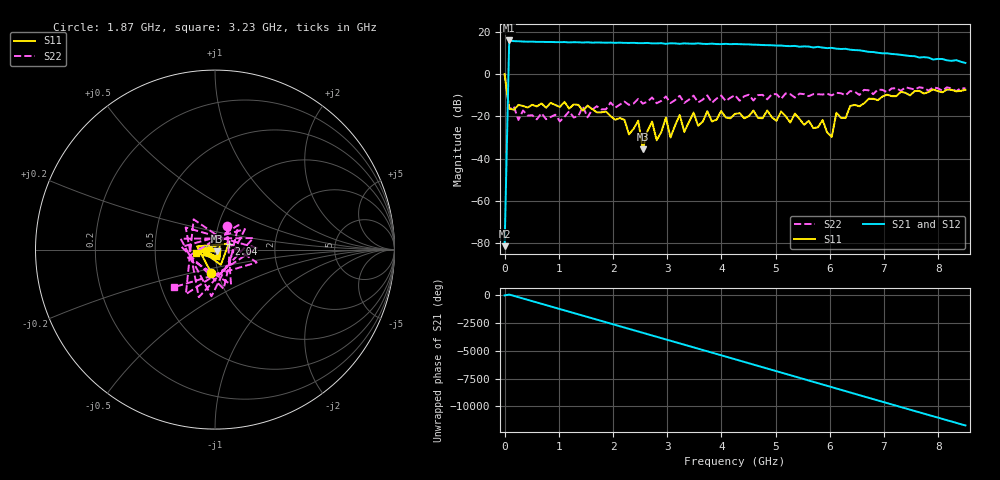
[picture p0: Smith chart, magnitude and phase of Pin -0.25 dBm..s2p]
! RsaToolbox (C) 2013 Rohde & Schwarz America
! Number of points: 101
! Number of ports: 2
! Balanced ports?: 0
# Hz S RI R 50
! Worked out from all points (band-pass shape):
!   101 points, 9 kHz to 8.5 GHz, reference 50 ohm
!   highest |S21| = 15.98 dB at 85.01 MHz (marker M1); lowest = -81.5 dB at 9 kHz (marker M2)
!   |S21| within 3 dB of the highest: 82.39 MHz to 5.629 GHz (5.547 GHz wide, 194 % of centre)
!   lowest |S11| = -35.6 dB at 2.55 GHz (marker M3), VSWR 1.03, Z = 51.3 - j1.07 ohm
!   |S11| at or under -10 dB: 52.26 MHz to 7.027 GHz (6.975 GHz wide, 197 % of centre); 7.09 GHz to 7.243 GHz (153.9 MHz wide, 2.15 % of centre); 7.475033 GHz to 7.482928 GHz (7.895 MHz wide, 0.106 % of centre)
!   |S22| runs from -22.4 to 0.1 dB; largest |S21 - S12| = 0
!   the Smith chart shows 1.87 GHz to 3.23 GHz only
!   S11 on the Smith chart (normalised r, x): 1.87 GHz: 0.93, -0.24; 2.04 GHz: 1.16, +0.08; 3.23 GHz: 0.81, -0.03
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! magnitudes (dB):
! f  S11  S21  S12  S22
! 9 kHz  0.0  -81.5  -81.5  0.1
! 85.01 MHz  -16.3  16.0  16.0  -16.6
! 1.02 GHz  -15.6  15.2  15.2  -22.4
! 1.445 GHz  -17.3  15.0  15.0  -15.3
! 1.87 GHz  -17.7  14.9  14.9  -16.6
! 2.04 GHz  -21.6  14.9  14.9  -15.9
! 2.295 GHz  -28.5  14.8  14.8  -14.6
! 2.465 GHz  -22.1  14.7  14.7  -11.7
! 2.55 GHz  -35.6  14.7  14.7  -14.0
! 2.72 GHz  -22.5  14.6  14.6  -11.1
! 2.89 GHz  -27.5  14.7  14.7  -12.7
! 2.975 GHz  -20.6  14.4  14.4  -10.6
! 3.06 GHz  -30.1  14.6  14.6  -13.7
! 3.23 GHz  -19.3  14.4  14.4  -10.2
! 3.315 GHz  -27.4  14.6  14.6  -13.6
! 3.485 GHz  -18.2  14.4  14.4  -10.2
! 4.25 GHz  -18.8  14.3  14.3  -9.9
! 5.695 GHz  -25.6  12.7  12.7  -9.5
! 6.035 GHz  -29.7  12.5  12.5  -10.0
! 6.12 GHz  -18.3  12.1  12.1  -8.8
! 7.14 GHz  -10.4  9.6  9.6  -6.8
! 8.5 GHz  -7.4  5.3  5.3  -6.7
